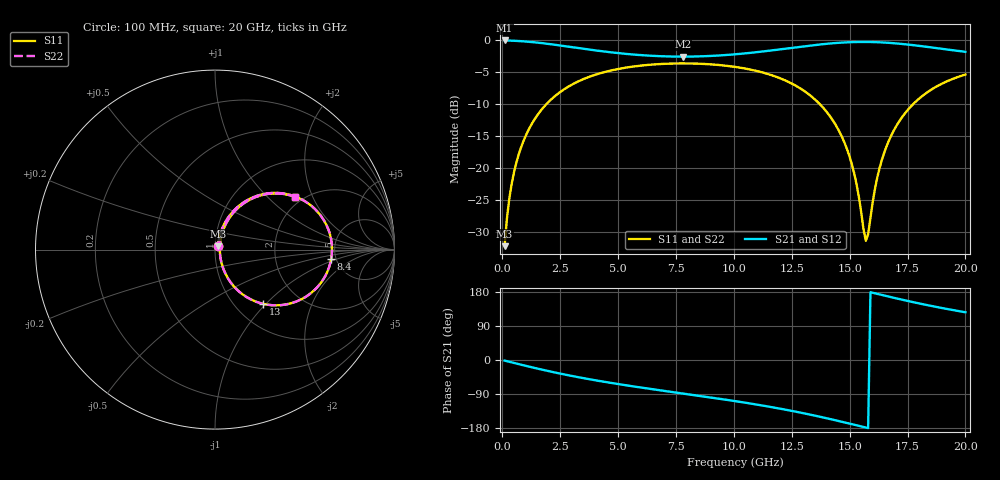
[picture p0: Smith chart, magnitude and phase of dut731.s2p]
! Touchstone file exported from HFSS 2026.1.0
!  File:  C:/ffzhzh/LocalFiles/Ansys_Project_Files/temp_train_TSV_RDL_731_1783202942_51560.aedt
!  Generated:  06:22:18 AM Jul  5, 2026
!  Design:  TSV_RDL
!  Project:  temp_train_TSV_RDL_731_1783202942_51560
! Variables:
!  h_bsmrdl = 3.6um
!  h_ox = 20um
!  h_rdl = 5um
!  h_sub = 57.01um
!  h_tmrdl = 5.33um
!  h_tsv = 57.01um
!  h_via = 3um
!  l_bsmrdl = 141.67um
!  l_sub = 4118.12um
!  l_tmrdl = 797.26um
!  m_sub = 200um
!  pitch = 58.86um
!  r_tsv = 5.84um
!  s_tmrdl = 10um
!  w_bsmrdl = 16.49um
!  w_sub = 500um
!  w_tmrdl = 18.2um
!  x_tsv_center1 = 806.36um
!  x_tsv_center2 = 964.52um
!  x_tsv_center3 = 1779.98um
!  x_tsv_center4 = 1938.14um
!  x_tsv_center5 = 2753.6um
!  x_tsv_center6 = 2911.76um
# GHz S MA R 50.000000
! Terminal data exported
! Port[1] = TM_RDL1_1_T1
! Port[2] = TM_RDL5_1_T1
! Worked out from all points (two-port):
!   200 points, 100 MHz to 20 GHz, reference 50 ohm
!   highest |S21| = -0.14 dB at 100 MHz (marker M1); lowest = -2.7 dB at 7.8 GHz (marker M2)
!   |S21| within 3 dB of the highest: start of sweep to end of sweep
!   lowest |S11| = -32.2 dB at 100 MHz (marker M3), VSWR 1.05, Z = 51.7 + j1.88 ohm
!   |S11| at or under -10 dB: start of sweep to 1.92 GHz; 13.7 GHz to 17.76 GHz (4.059 GHz wide, 25.8 % of centre)
!   |S22| runs from -32.2 to -3.7 dB; largest |S21 - S12| = 3.8e-14
!   S11 on the Smith chart (normalised r, x): 100 MHz: 1.03, +0.04; 8.4 GHz: 4.54, -0.84; 13 GHz: 1.33, -0.96; 20 GHz: 1.82, +1.49
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0.1  0.02465 47.6  0.9837 -1.6  0.9837 -1.6  0.02465 47.6
! Gamma 0 0 0 0
! Port Impedance 50 0 50 0
0.3  0.05733 68.0  0.9814 -4.7  0.9814 -4.7  0.05733 68.0
0.5  0.0917 71.2  0.9783 -7.7  0.9783 -7.7  0.0917 71.2
1.1  0.1927 67.7  0.9625 -16.7  0.9625 -16.7  0.1927 67.7
2.1  0.3406 55.8  0.9194 -30.7  0.9194 -30.7  0.3406 55.8
3.5  0.4918 39.5  0.8478 -47.9  0.8478 -47.9  0.4919 39.5
5.2  0.5989 22.6  0.7777 -65.4  0.7777 -65.4  0.5989 22.5
6.8  0.6444 8.6  0.7423 -79.9  0.7423 -79.9  0.6444 8.6
7.8  0.6519 0.3  0.7363 -88.5  0.7363 -88.5  0.6519 0.2
8.4  0.6492 -4.7  0.7386 -93.7  0.7386 -93.7  0.6492 -4.7
10.1  0.6107 -19.3  0.7687 -108.9  0.7687 -108.9  0.6108 -19.3
13  0.4023 -48.6  0.8846 -140.4  0.8846 -140.4  0.4023 -48.6
13.4  0.3549 -53.1  0.9024 -145.5  0.9024 -145.5  0.3549 -53.1
14.3  0.2312 -62.7  0.9366 -157.8  0.9366 -157.8  0.2312 -62.8
14.9  0.1383 -66.6  0.9516 -166.4  0.9516 -166.4  0.1383 -66.7
15.3  0.07481 -62.4  0.9569 -172.3  0.9569 -172.3  0.07474 -62.6
15.7  0.02716 -5.1  0.9581 -178.2  0.9581 -178.2  0.02693 -5.2
15.8  0.03049 26.7  0.9577 -179.7  0.9577 -179.7  0.03028 26.9
16.2  0.08524 64.9  0.9535 174.4  0.9535 174.4  0.08515 65.0
16.7  0.1639 66.8  0.9426 167.1  0.9426 167.1  0.1639 66.8
18  0.3469 54.4  0.8931 149.3  0.8931 149.3  0.3468 54.4
20  0.5339 33.3  0.8025 126.0  0.8025 126.0  0.5338 33.4
